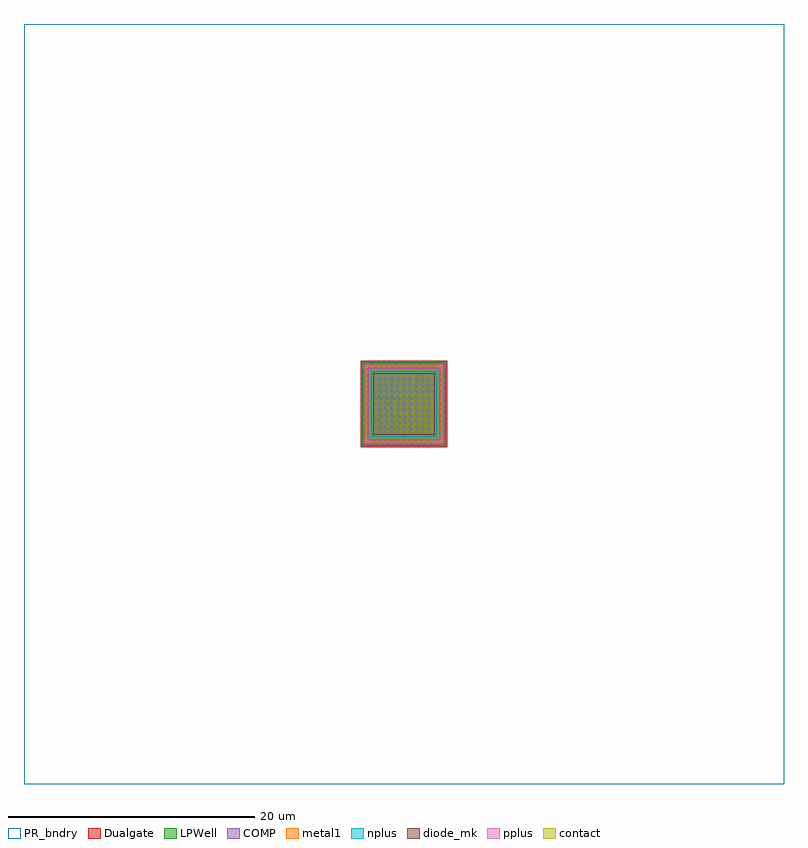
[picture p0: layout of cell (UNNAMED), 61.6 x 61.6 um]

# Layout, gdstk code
import gdstk
lib = gdstk.Library(unit=1e-6, precision=1e-09)
def R(c, l, rs):  # rectangles x0, y0, x1, y1
    for r in rs: c.add(gdstk.rectangle(r[:2], r[2:], *l))
def A(c, l, x, y, w, h, nx, ny, dx, dy):  # array of equal rectangles
    R(c, l, [(x+i*dx, y+j*dy, x+i*dx+w, y+j*dy+h) for i in range(nx) for j in range(ny)])
PR_bndry = (0, 0)
COMP = (22, 0)
pplus = (31, 0)
nplus = (32, 0)
contact = (33, 0)
metal1 = (34, 0)
Dualgate = (55, 0)
diode_mk = (115, 5)
LPWell = (204, 0)

c__unnamed_ = lib.new_cell('(UNNAMED)')
R(c__unnamed_, PR_bndry, [(-30.8,-30.8,30.8,30.8)])
R(c__unnamed_, COMP, [(-3.26,-3.26,3.26,-2.9), (-3.26,-2.9,-2.9,2.9), (2.9,-2.9,3.26,2.9), (-2.5,-2.5,2.5,2.5), (-3.26,2.9,3.26,3.26)])
R(c__unnamed_, pplus, [(-2.775,-3.29,2.775,-3.28), (-3.28,-3.28,3.28,-2.87), (-3.28,-2.87,-2.87,-2.775), (2.87,-2.87,3.28,-2.775), (-3.29,-2.775,-2.87,2.775), (2.87,-2.775,3.29,2.775), (-3.28,2.775,-2.87,2.87), (2.87,2.775,3.28,2.87), (-3.28,2.87,3.28,3.28), (-2.775,3.28,2.775,3.29)])
R(c__unnamed_, nplus, [(-2.66,-2.66,2.66,2.66)])
A(c__unnamed_, contact, -2.46, -3.19, 0.22, 0.22, 11, 2, 0.47, 6.16)
A(c__unnamed_, contact, -3.19, -2.46, 0.22, 0.22, 1, 11, 0, 0.47)
A(c__unnamed_, contact, 2.97, -2.46, 0.22, 0.22, 1, 11, 0, 0.47)
A(c__unnamed_, contact, -2.36, -2.36, 0.22, 0.22, 10, 10, 0.5, 0.5)
R(c__unnamed_, metal1, [(-3.195,-3.195,3.195,-2.965), (-3.195,-2.965,-2.965,2.965), (2.965,-2.965,3.195,2.965), (-2.49,-2.435,2.49,2.435), (-3.195,2.965,3.195,3.195)])
R(c__unnamed_, Dualgate, [(-3.5,-3.5,3.5,3.5)])
R(c__unnamed_, diode_mk, [(-2.5,-2.5,2.5,2.5)])
R(c__unnamed_, LPWell, [(-3.38,-3.38,3.38,3.38)])

lib.write_gds('_UNNAMED_.gds')
